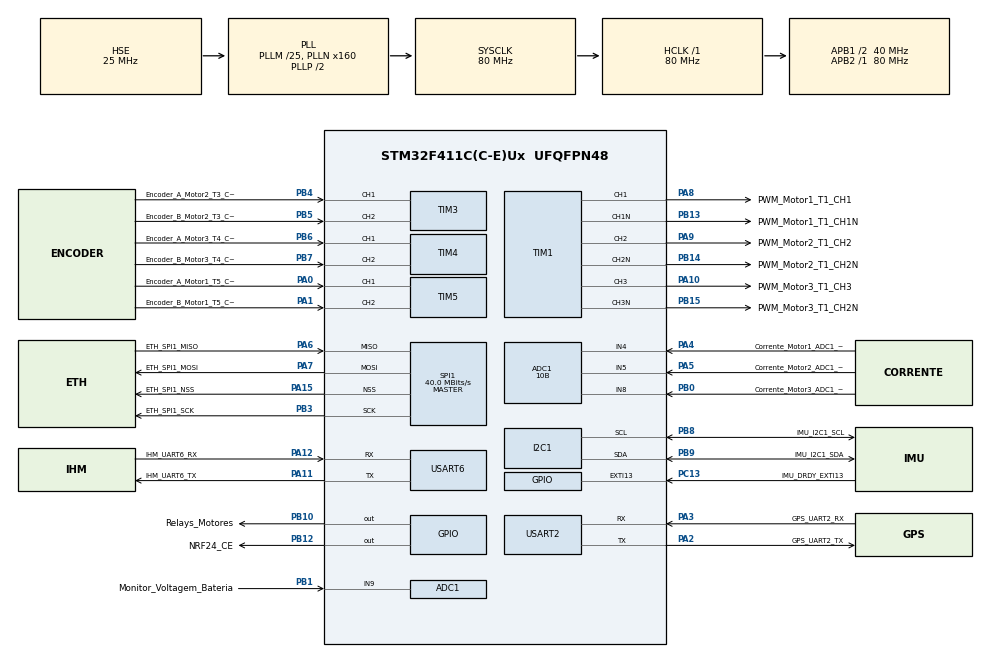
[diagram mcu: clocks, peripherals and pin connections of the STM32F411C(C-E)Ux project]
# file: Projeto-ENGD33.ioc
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ADC1.Channel-0\#ChannelRegularConversion=ADC_CHANNEL_4
ADC1.NbrOfConversion=1
ADC1.NbrOfConversionFlag=1
ADC1.Rank-0\#ChannelRegularConversion=1
ADC1.Resolution=ADC_RESOLUTION_10B
ADC1.SamplingTime-0\#ChannelRegularConversion=ADC_SAMPLETIME_3CYCLES
ADC1.master=1
FATFS._MAX_SS=4096
FREERTOS.Tasks01=defaultTask,24,128,StartDefaultTask,Default,NULL,Dynamic,NULL,NULL
Mcu.Family=STM32F4
Mcu.Name=STM32F411C(C-E)Ux
Mcu.Package=UFQFPN48
NVIC.EXTI15_10_IRQn=true\:5\:0\:false\:false\:true\:true\:true\:true\:true
NVIC.I2C1_ER_IRQn=true\:5\:0\:false\:false\:true\:true\:true\:true\:true
NVIC.I2C1_EV_IRQn=true\:5\:0\:false\:false\:true\:true\:true\:true\:true
NVIC.PriorityGroup=NVIC_PRIORITYGROUP_4
NVIC.SPI1_IRQn=true\:5\:0\:false\:false\:true\:true\:true\:true\:true
NVIC.USART2_IRQn=true\:5\:0\:false\:false\:true\:true\:true\:true\:true
NVIC.USART6_IRQn=true\:5\:0\:false\:false\:true\:true\:true\:true\:true
PA0-WKUP.GPIO_Label=Encoder_A_Motor1_T5_CH1
PA0-WKUP.Signal=S_TIM5_CH1
PA1.GPIO_Label=Encoder_B_Motor1_T5_CH2
PA1.Signal=S_TIM5_CH2
PA10.GPIO_Label=PWM_Motor3_T1_CH3
PA10.Signal=S_TIM1_CH3
PA11.GPIO_Label=IHM_UART6_TX
PA11.Mode=Asynchronous
PA11.Signal=USART6_TX
PA12.GPIO_Label=IHM_UART6_RX
PA12.Mode=Asynchronous
PA12.Signal=USART6_RX
PA13.Signal=SYS_JTMS-SWDIO
PA14.Signal=SYS_JTCK-SWCLK
PA15.GPIO_Label=ETH_SPI1_NSS
PA15.Mode=NSS_Signal_Hard_Output
PA15.Signal=SPI1_NSS
PA2.GPIO_Label=GPS_UART2_TX
PA2.Mode=Asynchronous
PA2.Signal=USART2_TX
PA3.GPIO_Label=GPS_UART2_RX
PA3.Mode=Asynchronous
PA3.Signal=USART2_RX
PA4.GPIO_Label=Corrente_Motor1_ADC1_IN4
PA4.Signal=ADCx_IN4
PA5.GPIO_Label=Corrente_Motor2_ADC1_IN5
PA5.Signal=ADCx_IN5
PA6.GPIO_Label=ETH_SPI1_MISO
PA6.Mode=Full_Duplex_Master
PA6.Signal=SPI1_MISO
PA7.GPIO_Label=ETH_SPI1_MOSI
PA7.Mode=Full_Duplex_Master
PA7.Signal=SPI1_MOSI
PA8.GPIO_Label=PWM_Motor1_T1_CH1
PA8.Signal=S_TIM1_CH1
PA9.GPIO_Label=PWM_Motor2_T1_CH2
PA9.Signal=S_TIM1_CH2
PB0.GPIO_Label=Corrente_Motor3_ADC1_IN8
PB0.Signal=ADCx_IN8
PB1.GPIO_Label=Monitor_Voltagem_Bateria
PB1.Signal=ADCx_IN9
PB10.GPIO_Label=Relays_Motores
PB10.Signal=GPIO_Output
PB12.GPIO_Label=NRF24_CE
PB12.GPIO_Speed=GPIO_SPEED_FREQ_VERY_HIGH
PB12.Signal=GPIO_Output
PB13.GPIO_Label=PWM_Motor1_T1_CH1N
PB13.Mode=PWM Generation1 CH1 CH1N
PB13.Signal=TIM1_CH1N
PB14.GPIO_Label=PWM_Motor2_T1_CH2N
PB14.Mode=PWM Generation2 CH2 CH2N
PB14.Signal=TIM1_CH2N
PB15.GPIO_Label=PWM_Motor3_T1_CH2N
PB15.Mode=PWM Generation3 CH3 CH3N
PB15.Signal=TIM1_CH3N
PB3.GPIO_Label=ETH_SPI1_SCK
PB3.Mode=Full_Duplex_Master
PB3.Signal=SPI1_SCK
PB4.GPIO_Label=Encoder_A_Motor2_T3_CH1
PB4.Signal=S_TIM3_CH1
PB5.GPIO_Label=Encoder_B_Motor2_T3_CH2
PB5.Signal=S_TIM3_CH2
PB6.GPIO_Label=Encoder_A_Motor3_T4_CH1
PB6.Signal=S_TIM4_CH1
PB7.GPIO_Label=Encoder_B_Motor3_T4_CH2
PB7.Signal=S_TIM4_CH2
PB8.GPIO_Label=IMU_I2C1_SCL
PB8.Mode=I2C
PB8.Signal=I2C1_SCL
PB9.GPIO_Label=IMU_I2C1_SDA
PB9.Mode=I2C
PB9.Signal=I2C1_SDA
PC13-ANTI_TAMP.GPIO_Label=IMU_DRDY_EXTI13
PC13-ANTI_TAMP.Signal=GPXTI13
PC14-OSC32_IN.GPIO_Label=Osc_32k768Hz_In
PC14-OSC32_IN.Mode=LSE-External-Oscillator
PC14-OSC32_IN.Signal=RCC_OSC32_IN
PC15-OSC32_OUT.GPIO_Label=Osc_32k768Hz_Out
PC15-OSC32_OUT.Mode=LSE-External-Oscillator
PC15-OSC32_OUT.Signal=RCC_OSC32_OUT
PH0\ -\ OSC_IN.GPIO_Label=Osc_25MHz_In
PH0\ -\ OSC_IN.Mode=HSE-External-Oscillator
PH0\ -\ OSC_IN.Signal=RCC_OSC_IN
PH1\ -\ OSC_OUT.GPIO_Label=Osc_25MHz_Out
PH1\ -\ OSC_OUT.Mode=HSE-External-Oscillator
PH1\ -\ OSC_OUT.Signal=RCC_OSC_OUT
ProjectManager.HeapSize=0x200
ProjectManager.StackSize=0x400
ProjectManager.TargetToolchain=STM32CubeIDE
RCC.48MHZClocksFreq_Value=40000000
RCC.AHBFreq_Value=80000000
RCC.APB1CLKDivider=RCC_HCLK_DIV2
RCC.APB1Freq_Value=40000000
RCC.APB1TimFreq_Value=80000000
RCC.APB2Freq_Value=80000000
RCC.APB2TimFreq_Value=80000000
RCC.CortexFreq_Value=80000000
RCC.HCLKFreq_Value=80000000
RCC.HSE_VALUE=25000000
RCC.HSI_VALUE=16000000
RCC.PLLM=25
RCC.PLLN=160
RCC.PLLSourceVirtual=RCC_PLLSOURCE_HSE
RCC.RCC_RTC_Clock_Source=RCC_RTCCLKSOURCE_LSE
RCC.RCC_RTC_Clock_SourceVirtual=RCC_RTCCLKSOURCE_LSE
RCC.SYSCLKFreq_VALUE=80000000
RCC.SYSCLKSource=RCC_SYSCLKSOURCE_PLLCLK
RCC.VCOOutputFreq_Value=160000000
SH.ADCx_IN4.0=ADC1_IN4,IN4
SH.ADCx_IN5.0=ADC1_IN5,IN5
SH.ADCx_IN8.0=ADC1_IN8,IN8
SH.ADCx_IN9.0=ADC1_IN9,IN9
SH.S_TIM1_CH1.0=TIM1_CH1,PWM Generation1 CH1 CH1N
SH.S_TIM1_CH2.0=TIM1_CH2,PWM Generation2 CH2 CH2N
SH.S_TIM1_CH3.0=TIM1_CH3,PWM Generation3 CH3 CH3N
SH.S_TIM3_CH1.0=TIM3_CH1,Encoder_Interface
SH.S_TIM3_CH2.0=TIM3_CH2,Encoder_Interface
SH.S_TIM4_CH1.0=TIM4_CH1,Encoder_Interface
SH.S_TIM4_CH2.0=TIM4_CH2,Encoder_Interface
SH.S_TIM5_CH1.0=TIM5_CH1,Encoder_Interface
SH.S_TIM5_CH2.0=TIM5_CH2,Encoder_Interface
SPI1.CalculateBaudRate=40.0 MBits/s
SPI1.Direction=SPI_DIRECTION_2LINES
SPI1.Mode=SPI_MODE_MASTER
SPI1.VirtualNSS=VM_NSSHARD
SPI1.VirtualType=VM_MASTER
TIM1.Channel-PWM\ Generation1\ CH1\ CH1N=TIM_CHANNEL_1
TIM1.Channel-PWM\ Generation2\ CH2\ CH2N=TIM_CHANNEL_2
TIM1.Channel-PWM\ Generation3\ CH3\ CH3N=TIM_CHANNEL_3
USART2.VirtualMode=VM_ASYNC
USART6.VirtualMode=VM_ASYNC
VP_ADC1_TempSens_Input.Mode=IN-TempSens
VP_FATFS_VS_Generic.Mode=User_defined
VP_FREERTOS_VS_CMSIS_V2.Mode=CMSIS_V2
VP_RTC_VS_RTC_Activate.Mode=RTC_Enabled
VP_RTC_VS_RTC_Calendar.Mode=RTC_Calendar
VP_TIM1_VS_ClockSourceINT.Mode=Internal
board=custom

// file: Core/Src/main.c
/* USER CODE BEGIN Header */
/**
  ******************************************************************************
  * @file           : main.c
  * @brief          : Main program body
  ******************************************************************************
  * @attention
  *
  * Copyright (c) 2025 STMicroelectronics.
  * All rights reserved.
  *
  * This software is licensed under terms that can be found in the LICENSE file
  * in the root directory of this software component.
  * If no LICENSE file comes with this software, it is provided AS-IS.
  *
  ******************************************************************************
  */
/* USER CODE END Header */
#include "main.h"
#include "cmsis_os.h"
#include "fatfs.h"

/* USER CODE BEGIN PTD */

#include "fatfs.h"
#include <string.h>
#include <stdio.h>

/* USER CODE END PTD */

ADC_HandleTypeDef hadc1;

I2C_HandleTypeDef hi2c1;

RTC_HandleTypeDef hrtc;

SPI_HandleTypeDef hspi1;

TIM_HandleTypeDef htim1;
TIM_HandleTypeDef htim3;
TIM_HandleTypeDef htim4;
TIM_HandleTypeDef htim5;

UART_HandleTypeDef huart2;
UART_HandleTypeDef huart6;

/* Definitions for defaultTask */
osThreadId_t defaultTaskHandle;
const osThreadAttr_t defaultTask_attributes = {
  .name = "defaultTask",
  .stack_size = 128 * 4,
  .priority = (osPriority_t) osPriorityNormal,
};
/* USER CODE BEGIN PV */

FATFS fs;      // Objeto do sistema de arquivos (File System)
FIL fil;       // Objeto do arquivo (File)
FRESULT fres;  // Variável para checar erros nas funções do FatFs

/* USER CODE END PV */

void SystemClock_Config(void);
static void MX_GPIO_Init(void);
static void MX_RTC_Init(void);
static void MX_ADC1_Init(void);
static void MX_I2C1_Init(void);
static void MX_SPI1_Init(void);
static void MX_TIM1_Init(void);
static void MX_TIM3_Init(void);
static void MX_TIM4_Init(void);
static void MX_TIM5_Init(void);
static void MX_USART2_UART_Init(void);
static void MX_USART6_UART_Init(void);
void StartDefaultTask(void *argument);

/* USER CODE BEGIN PFP */

void EscreverNoMicroSDTask(void *argument);

/* USER CODE END PFP */

int main(void)
{

  /* MCU Configuration--------------------------------------------------------*/

  /* Reset of all peripherals, Initializes the Flash interface and the Systick. */
  HAL_Init();

  /* Configure the system clock */
  SystemClock_Config();

  /* Initialize all configured peripherals */
  MX_GPIO_Init();
  MX_RTC_Init();
  MX_ADC1_Init();
  MX_I2C1_Init();
  MX_SPI1_Init();
  MX_TIM1_Init();
  MX_TIM3_Init();
  MX_TIM4_Init();
  MX_TIM5_Init();
  MX_USART2_UART_Init();
  MX_USART6_UART_Init();
  MX_FATFS_Init();

  /* Init scheduler */
  osKernelInitialize();

  /* Create the thread(s) */
  /* creation of defaultTask */
  defaultTaskHandle = osThreadNew(StartDefaultTask, NULL, &defaultTask_attributes);

  /* Start scheduler */
  osKernelStart();

  /* We should never get here as control is now taken by the scheduler */

  /* Infinite loop */
  while (1)
  {

  }
}

void SystemClock_Config(void)
{
  RCC_OscInitTypeDef RCC_OscInitStruct = {0};
  RCC_ClkInitTypeDef RCC_ClkInitStruct = {0};

  /** Configure the main internal regulator output voltage
  */
  __HAL_RCC_PWR_CLK_ENABLE();
  __HAL_PWR_VOLTAGESCALING_CONFIG(PWR_REGULATOR_VOLTAGE_SCALE1);

  /** Initializes the RCC Oscillators according to the specified parameters
  * in the RCC_OscInitTypeDef structure.
  */
  RCC_OscInitStruct.OscillatorType = RCC_OSCILLATORTYPE_HSE|RCC_OSCILLATORTYPE_LSE;
  RCC_OscInitStruct.HSEState = RCC_HSE_ON;
  RCC_OscInitStruct.LSEState = RCC_LSE_ON;
  RCC_OscInitStruct.PLL.PLLState = RCC_PLL_ON;
  RCC_OscInitStruct.PLL.PLLSource = RCC_PLLSOURCE_HSE;
  RCC_OscInitStruct.PLL.PLLM = 25;
  RCC_OscInitStruct.PLL.PLLN = 160;
  RCC_OscInitStruct.PLL.PLLP = RCC_PLLP_DIV2;
  RCC_OscInitStruct.PLL.PLLQ = 4;
  if (HAL_RCC_OscConfig(&RCC_OscInitStruct) != HAL_OK)
  {
    Error_Handler();
  }

  /** Initializes the CPU, AHB and APB buses clocks
  */
  RCC_ClkInitStruct.ClockType = RCC_CLOCKTYPE_HCLK|RCC_CLOCKTYPE_SYSCLK
                              |RCC_CLOCKTYPE_PCLK1|RCC_CLOCKTYPE_PCLK2;
  RCC_ClkInitStruct.SYSCLKSource = RCC_SYSCLKSOURCE_PLLCLK;
  RCC_ClkInitStruct.AHBCLKDivider = RCC_SYSCLK_DIV1;
  RCC_ClkInitStruct.APB1CLKDivider = RCC_HCLK_DIV2;
  RCC_ClkInitStruct.APB2CLKDivider = RCC_HCLK_DIV1;

  if (HAL_RCC_ClockConfig(&RCC_ClkInitStruct, FLASH_LATENCY_2) != HAL_OK)
  {
    Error_Handler();
  }
}

static void MX_ADC1_Init(void)
{

  ADC_ChannelConfTypeDef sConfig = {0};

  /** Configure the global features of the ADC (Clock, Resolution, Data Alignment and number of conversion)
  */
  hadc1.Instance = ADC1;
  hadc1.Init.ClockPrescaler = ADC_CLOCK_SYNC_PCLK_DIV4;
  hadc1.Init.Resolution = ADC_RESOLUTION_10B;
  hadc1.Init.ScanConvMode = DISABLE;
  hadc1.Init.ContinuousConvMode = DISABLE;
  hadc1.Init.DiscontinuousConvMode = DISABLE;
  hadc1.Init.ExternalTrigConvEdge = ADC_EXTERNALTRIGCONVEDGE_NONE;
  hadc1.Init.ExternalTrigConv = ADC_SOFTWARE_START;
  hadc1.Init.DataAlign = ADC_DATAALIGN_RIGHT;
  hadc1.Init.NbrOfConversion = 1;
  hadc1.Init.DMAContinuousRequests = DISABLE;
  hadc1.Init.EOCSelection = ADC_EOC_SINGLE_CONV;
  if (HAL_ADC_Init(&hadc1) != HAL_OK)
  {
    Error_Handler();
  }

  /** Configure for the selected ADC regular channel its corresponding rank in the sequencer and its sample time.
  */
  sConfig.Channel = ADC_CHANNEL_4;
  sConfig.Rank = 1;
  sConfig.SamplingTime = ADC_SAMPLETIME_3CYCLES;
  if (HAL_ADC_ConfigChannel(&hadc1, &sConfig) != HAL_OK)
  {
    Error_Handler();
  }
  /* USER CODE BEGIN ADC1_Init 2 */
  sConfig.Channel = ADC_CHANNEL_5;
    sConfig.Rank = 1;
    sConfig.SamplingTime = ADC_SAMPLETIME_112CYCLES;
    if (HAL_ADC_ConfigChannel(&hadc1, &sConfig) != HAL_OK)
    {
      Error_Handler();
    }

    sConfig.Channel = ADC_CHANNEL_8;
      sConfig.Rank = 1;
      sConfig.SamplingTime = ADC_SAMPLETIME_112CYCLES;
      if (HAL_ADC_ConfigChannel(&hadc1, &sConfig) != HAL_OK)
      {
        Error_Handler();
      }

      sConfig.Channel = ADC_CHANNEL_9;
        sConfig.Rank = 1;
        sConfig.SamplingTime = ADC_SAMPLETIME_112CYCLES;
        if (HAL_ADC_ConfigChannel(&hadc1, &sConfig) != HAL_OK)
        {
          Error_Handler();
        }

  /* USER CODE END ADC1_Init 2 */

}

static void MX_I2C1_Init(void)
{

  hi2c1.Instance = I2C1;
  hi2c1.Init.ClockSpeed = 100000;
  hi2c1.Init.DutyCycle = I2C_DUTYCYCLE_2;
  hi2c1.Init.OwnAddress1 = 0;
  hi2c1.Init.AddressingMode = I2C_ADDRESSINGMODE_7BIT;
  hi2c1.Init.DualAddressMode = I2C_DUALADDRESS_DISABLE;
  hi2c1.Init.OwnAddress2 = 0;
  hi2c1.Init.GeneralCallMode = I2C_GENERALCALL_DISABLE;
  hi2c1.Init.NoStretchMode = I2C_NOSTRETCH_DISABLE;
  if (HAL_I2C_Init(&hi2c1) != HAL_OK)
  {
    Error_Handler();
  }

}

static void MX_RTC_Init(void)
{

  RTC_TimeTypeDef sTime = {0};
  RTC_DateTypeDef sDate = {0};

  /** Initialize RTC Only
  */
  hrtc.Instance = RTC;
  hrtc.Init.HourFormat = RTC_HOURFORMAT_24;
  hrtc.Init.AsynchPrediv = 127;
  hrtc.Init.SynchPrediv = 255;
  hrtc.Init.OutPut = RTC_OUTPUT_DISABLE;
  hrtc.Init.OutPutPolarity = RTC_OUTPUT_POLARITY_HIGH;
  hrtc.Init.OutPutType = RTC_OUTPUT_TYPE_OPENDRAIN;
  if (HAL_RTC_Init(&hrtc) != HAL_OK)
  {
    Error_Handler();
  }

  /** Initialize RTC and set the Time and Date
  */
  sTime.Hours = 0x0;
  sTime.Minutes = 0x0;
  sTime.Seconds = 0x0;
  sTime.DayLightSaving = RTC_DAYLIGHTSAVING_NONE;
  sTime.StoreOperation = RTC_STOREOPERATION_RESET;
  if (HAL_RTC_SetTime(&hrtc, &sTime, RTC_FORMAT_BCD) != HAL_OK)
  {
    Error_Handler();
  }
  sDate.WeekDay = RTC_WEEKDAY_MONDAY;
  sDate.Month = RTC_MONTH_JANUARY;
  sDate.Date = 0x1;
  sDate.Year = 0x0;

  if (HAL_RTC_SetDate(&hrtc, &sDate, RTC_FORMAT_BCD) != HAL_OK)
  {
    Error_Handler();
  }

}

static void MX_SPI1_Init(void)
{

  /* SPI1 parameter configuration*/
  hspi1.Instance = SPI1;
  hspi1.Init.Mode = SPI_MODE_MASTER;
  hspi1.Init.Direction = SPI_DIRECTION_2LINES;
  hspi1.Init.DataSize = SPI_DATASIZE_8BIT;
  hspi1.Init.CLKPolarity = SPI_POLARITY_LOW;
  hspi1.Init.CLKPhase = SPI_PHASE_1EDGE;
  hspi1.Init.NSS = SPI_NSS_HARD_OUTPUT;
  hspi1.Init.BaudRatePrescaler = SPI_BAUDRATEPRESCALER_2;
  hspi1.Init.FirstBit = SPI_FIRSTBIT_MSB;
  hspi1.Init.TIMode = SPI_TIMODE_DISABLE;
  hspi1.Init.CRCCalculation = SPI_CRCCALCULATION_DISABLE;
  hspi1.Init.CRCPolynomial = 10;
  if (HAL_SPI_Init(&hspi1) != HAL_OK)
  {
    Error_Handler();
  }

}

static void MX_TIM1_Init(void)
{

  TIM_ClockConfigTypeDef sClockSourceConfig = {0};
  TIM_MasterConfigTypeDef sMasterConfig = {0};
  TIM_OC_InitTypeDef sConfigOC = {0};
  TIM_BreakDeadTimeConfigTypeDef sBreakDeadTimeConfig = {0};

  htim1.Instance = TIM1;
  htim1.Init.Prescaler = 0;
  htim1.Init.CounterMode = TIM_COUNTERMODE_UP;
  htim1.Init.Period = 65535;
  htim1.Init.ClockDivision = TIM_CLOCKDIVISION_DIV1;
  htim1.Init.RepetitionCounter = 0;
  htim1.Init.AutoReloadPreload = TIM_AUTORELOAD_PRELOAD_DISABLE;
  if (HAL_TIM_Base_Init(&htim1) != HAL_OK)
  {
    Error_Handler();
  }
  sClockSourceConfig.ClockSource = TIM_CLOCKSOURCE_INTERNAL;
  if (HAL_TIM_ConfigClockSource(&htim1, &sClockSourceConfig) != HAL_OK)
  {
    Error_Handler();
  }
  if (HAL_TIM_PWM_Init(&htim1) != HAL_OK)
  {
    Error_Handler();
  }
  sMasterConfig.MasterOutputTrigger = TIM_TRGO_RESET;
  sMasterConfig.MasterSlaveMode = TIM_MASTERSLAVEMODE_DISABLE;
  if (HAL_TIMEx_MasterConfigSynchronization(&htim1, &sMasterConfig) != HAL_OK)
  {
    Error_Handler();
  }
  sConfigOC.OCMode = TIM_OCMODE_PWM1;
  sConfigOC.Pulse = 0;
  sConfigOC.OCPolarity = TIM_OCPOLARITY_HIGH;
  sConfigOC.OCNPolarity = TIM_OCNPOLARITY_HIGH;
  sConfigOC.OCFastMode = TIM_OCFAST_DISABLE;
  sConfigOC.OCIdleState = TIM_OCIDLESTATE_RESET;
  sConfigOC.OCNIdleState = TIM_OCNIDLESTATE_RESET;
  if (HAL_TIM_PWM_ConfigChannel(&htim1, &sConfigOC, TIM_CHANNEL_1) != HAL_OK)
  {
    Error_Handler();
  }
  if (HAL_TIM_PWM_ConfigChannel(&htim1, &sConfigOC, TIM_CHANNEL_2) != HAL_OK)
  {
    Error_Handler();
  }
  if (HAL_TIM_PWM_ConfigChannel(&htim1, &sConfigOC, TIM_CHANNEL_3) != HAL_OK)
  {
    Error_Handler();
  }
  sBreakDeadTimeConfig.OffStateRunMode = TIM_OSSR_DISABLE;
  sBreakDeadTimeConfig.OffStateIDLEMode = TIM_OSSI_DISABLE;
  sBreakDeadTimeConfig.LockLevel = TIM_LOCKLEVEL_OFF;
  sBreakDeadTimeConfig.DeadTime = 0;
  sBreakDeadTimeConfig.BreakState = TIM_BREAK_DISABLE;
  sBreakDeadTimeConfig.BreakPolarity = TIM_BREAKPOLARITY_HIGH;
  sBreakDeadTimeConfig.AutomaticOutput = TIM_AUTOMATICOUTPUT_DISABLE;
  if (HAL_TIMEx_ConfigBreakDeadTime(&htim1, &sBreakDeadTimeConfig) != HAL_OK)
  {
    Error_Handler();
  }
  HAL_TIM_MspPostInit(&htim1);

}

static void MX_TIM3_Init(void)
{

  TIM_Encoder_InitTypeDef sConfig = {0};
  TIM_MasterConfigTypeDef sMasterConfig = {0};

  htim3.Instance = TIM3;
  htim3.Init.Prescaler = 0;
  htim3.Init.CounterMode = TIM_COUNTERMODE_UP;
  htim3.Init.Period = 65535;
  htim3.Init.ClockDivision = TIM_CLOCKDIVISION_DIV1;
  htim3.Init.AutoReloadPreload = TIM_AUTORELOAD_PRELOAD_DISABLE;
  sConfig.EncoderMode = TIM_ENCODERMODE_TI1;
  sConfig.IC1Polarity = TIM_ICPOLARITY_RISING;
  sConfig.IC1Selection = TIM_ICSELECTION_DIRECTTI;
  sConfig.IC1Prescaler = TIM_ICPSC_DIV1;
  sConfig.IC1Filter = 0;
  sConfig.IC2Polarity = TIM_ICPOLARITY_RISING;
  sConfig.IC2Selection = TIM_ICSELECTION_DIRECTTI;
  sConfig.IC2Prescaler = TIM_ICPSC_DIV1;
  sConfig.IC2Filter = 0;
  if (HAL_TIM_Encoder_Init(&htim3, &sConfig) != HAL_OK)
  {
    Error_Handler();
  }
  sMasterConfig.MasterOutputTrigger = TIM_TRGO_RESET;
  sMasterConfig.MasterSlaveMode = TIM_MASTERSLAVEMODE_DISABLE;
  if (HAL_TIMEx_MasterConfigSynchronization(&htim3, &sMasterConfig) != HAL_OK)
  {
    Error_Handler();
  }

}

static void MX_TIM4_Init(void)
{

  TIM_Encoder_InitTypeDef sConfig = {0};
  TIM_MasterConfigTypeDef sMasterConfig = {0};

  htim4.Instance = TIM4;
  htim4.Init.Prescaler = 0;
  htim4.Init.CounterMode = TIM_COUNTERMODE_UP;
  htim4.Init.Period = 65535;
  htim4.Init.ClockDivision = TIM_CLOCKDIVISION_DIV1;
  htim4.Init.AutoReloadPreload = TIM_AUTORELOAD_PRELOAD_DISABLE;
  sConfig.EncoderMode = TIM_ENCODERMODE_TI1;
  sConfig.IC1Polarity = TIM_ICPOLARITY_RISING;
  sConfig.IC1Selection = TIM_ICSELECTION_DIRECTTI;
  sConfig.IC1Prescaler = TIM_ICPSC_DIV1;
  sConfig.IC1Filter = 0;
  sConfig.IC2Polarity = TIM_ICPOLARITY_RISING;
  sConfig.IC2Selection = TIM_ICSELECTION_DIRECTTI;
  sConfig.IC2Prescaler = TIM_ICPSC_DIV1;
  sConfig.IC2Filter = 0;
  if (HAL_TIM_Encoder_Init(&htim4, &sConfig) != HAL_OK)
  {
    Error_Handler();
  }
  sMasterConfig.MasterOutputTrigger = TIM_TRGO_RESET;
  sMasterConfig.MasterSlaveMode = TIM_MASTERSLAVEMODE_DISABLE;
  if (HAL_TIMEx_MasterConfigSynchronization(&htim4, &sMasterConfig) != HAL_OK)
  {
    Error_Handler();
  }

}

static void MX_TIM5_Init(void)
{

  TIM_Encoder_InitTypeDef sConfig = {0};
  TIM_MasterConfigTypeDef sMasterConfig = {0};

  htim5.Instance = TIM5;
  htim5.Init.Prescaler = 0;
  htim5.Init.CounterMode = TIM_COUNTERMODE_UP;
  htim5.Init.Period = 4294967295;
  htim5.Init.ClockDivision = TIM_CLOCKDIVISION_DIV1;
  htim5.Init.AutoReloadPreload = TIM_AUTORELOAD_PRELOAD_DISABLE;
  sConfig.EncoderMode = TIM_ENCODERMODE_TI1;
  sConfig.IC1Polarity = TIM_ICPOLARITY_RISING;
  sConfig.IC1Selection = TIM_ICSELECTION_DIRECTTI;
  sConfig.IC1Prescaler = TIM_ICPSC_DIV1;
  sConfig.IC1Filter = 0;
  sConfig.IC2Polarity = TIM_ICPOLARITY_RISING;
  sConfig.IC2Selection = TIM_ICSELECTION_DIRECTTI;
  sConfig.IC2Prescaler = TIM_ICPSC_DIV1;
  sConfig.IC2Filter = 0;
  if (HAL_TIM_Encoder_Init(&htim5, &sConfig) != HAL_OK)
  {
    Error_Handler();
  }
  sMasterConfig.MasterOutputTrigger = TIM_TRGO_RESET;
  sMasterConfig.MasterSlaveMode = TIM_MASTERSLAVEMODE_DISABLE;
  if (HAL_TIMEx_MasterConfigSynchronization(&htim5, &sMasterConfig) != HAL_OK)
  {
    Error_Handler();
  }

}

static void MX_USART2_UART_Init(void)
{

  huart2.Instance = USART2;
  huart2.Init.BaudRate = 115200;
  huart2.Init.WordLength = UART_WORDLENGTH_8B;
  huart2.Init.StopBits = UART_STOPBITS_1;
  huart2.Init.Parity = UART_PARITY_NONE;
  huart2.Init.Mode = UART_MODE_TX_RX;
  huart2.Init.HwFlowCtl = UART_HWCONTROL_NONE;
  huart2.Init.OverSampling = UART_OVERSAMPLING_16;
  if (HAL_UART_Init(&huart2) != HAL_OK)
  {
    Error_Handler();
  }

}

static void MX_USART6_UART_Init(void)
{

  huart6.Instance = USART6;
  huart6.Init.BaudRate = 115200;
  huart6.Init.WordLength = UART_WORDLENGTH_8B;
  huart6.Init.StopBits = UART_STOPBITS_1;
  huart6.Init.Parity = UART_PARITY_NONE;
  huart6.Init.Mode = UART_MODE_TX_RX;
  huart6.Init.HwFlowCtl = UART_HWCONTROL_NONE;
  huart6.Init.OverSampling = UART_OVERSAMPLING_16;
  if (HAL_UART_Init(&huart6) != HAL_OK)
  {
    Error_Handler();
  }

}

static void MX_GPIO_Init(void)
{
  GPIO_InitTypeDef GPIO_InitStruct = {0};

  /* GPIO Ports Clock Enable */
  __HAL_RCC_GPIOC_CLK_ENABLE();
  __HAL_RCC_GPIOH_CLK_ENABLE();
  __HAL_RCC_GPIOA_CLK_ENABLE();
  __HAL_RCC_GPIOB_CLK_ENABLE();

  /*Configure GPIO pin Output Level */
  HAL_GPIO_WritePin(GPIOB, Relays_Motores_Pin|NRF24_CE_Pin, GPIO_PIN_RESET);

  /*Configure GPIO pin : IMU_DRDY_EXTI13_Pin */
  GPIO_InitStruct.Pin = IMU_DRDY_EXTI13_Pin;
  GPIO_InitStruct.Mode = GPIO_MODE_IT_RISING;
  GPIO_InitStruct.Pull = GPIO_NOPULL;
  HAL_GPIO_Init(IMU_DRDY_EXTI13_GPIO_Port, &GPIO_InitStruct);

  /*Configure GPIO pin : Relays_Motores_Pin */
  GPIO_InitStruct.Pin = Relays_Motores_Pin;
  GPIO_InitStruct.Mode = GPIO_MODE_OUTPUT_PP;
  GPIO_InitStruct.Pull = GPIO_NOPULL;
  GPIO_InitStruct.Speed = GPIO_SPEED_FREQ_LOW;
  HAL_GPIO_Init(Relays_Motores_GPIO_Port, &GPIO_InitStruct);

  /*Configure GPIO pin : NRF24_CE_Pin */
  GPIO_InitStruct.Pin = NRF24_CE_Pin;
  GPIO_InitStruct.Mode = GPIO_MODE_OUTPUT_PP;
  GPIO_InitStruct.Pull = GPIO_NOPULL;
  GPIO_InitStruct.Speed = GPIO_SPEED_FREQ_VERY_HIGH;
  HAL_GPIO_Init(NRF24_CE_GPIO_Port, &GPIO_InitStruct);

  /* EXTI interrupt init*/
  HAL_NVIC_SetPriority(EXTI15_10_IRQn, 5, 0);
  HAL_NVIC_EnableIRQ(EXTI15_10_IRQn);

}

/* USER CODE BEGIN 4 */

void EscreverNoMicroSDTask(void *argument)
{
    char buffer[100];
    UINT bytesWrote;

    // 1. Monta o sistema de arquivos (1 = forca a montagem imediata)
    fres = f_mount(&fs, "", 1);

    if (fres != FR_OK) {
        // Tratar erro (ex: Cartao nao inserido)
        // Podemos colocar um osDelay infinito aqui se falhar no mount
    }

    for(;;)
    {
        // 2. Criacao do Mock (Exemplo de log com Timestamp, Local, Temperatura e um Numero Aleatorio)
        sprintf(buffer, "2026-07-04 16:56:50, Salvador, 25.5, 1024\n");

        // 3. Abre o arquivo em modo Append (anexa ao fim) e cria se nao existir
        fres = f_open(&fil, "log.csv", FA_WRITE | FA_OPEN_APPEND | FA_CREATE_ALWAYS);

        if (fres == FR_OK) {
            // 4. Escreve os dados
            f_write(&fil, buffer, strlen(buffer), &bytesWrote);

            // 5. Fecha o arquivo para garantir que os dados sejam salvos no SD fisico
            f_close(&fil);
        }

        // Aguarda 1 segundo (podemos remover isso depois)
        osDelay(1000);
    }
}

/* USER CODE END 4 */

void StartDefaultTask(void *argument)
{
  for(;;)
  {
    osDelay(1);
  }
}

void Error_Handler(void)
{
  __disable_irq();
  while (1)
  {
  }
}
